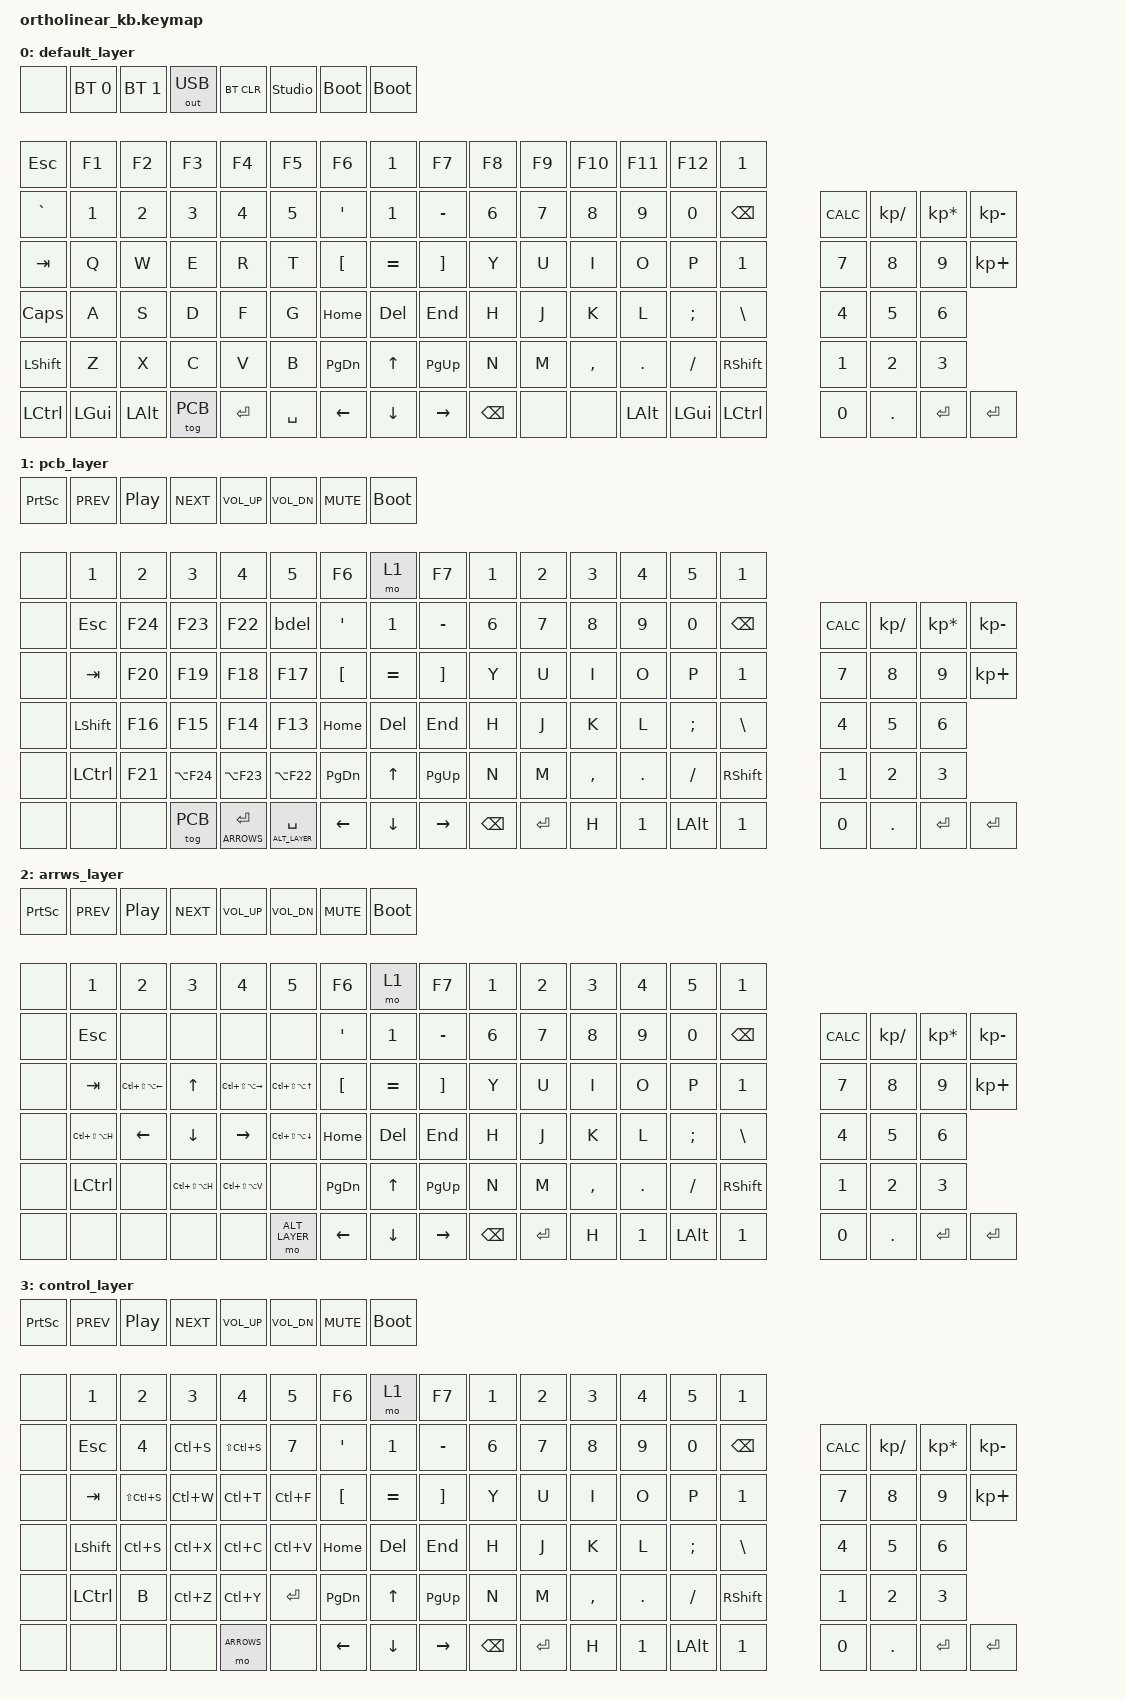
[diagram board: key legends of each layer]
// This file was generated from a template. Edit it to match your keyboard.
// See https://zmk.dev/docs/development/hardware-integration/new-shield for more instructions.

#include <behaviors.dtsi>
#include <dt-bindings/zmk/keys.h>
#include <dt-bindings/zmk/bt.h>
#include <dt-bindings/zmk/outputs.h>

#include "elpekenin/behaviors.dtsi"


/ {
    #define MAIN 			0
    #define PCB             1
    #define ARROWS	  		2
    #define ALT_LAYER 		3
    #define BT_SET  		4

    behaviors {
		bdel: backspace_del {
            compatible = "zmk,behavior-mod-morph";
            #binding-cells = <0>;
            bindings = <&kp DELETE>, <&kp BACKSPACE>;
            mods = <(MOD_LSFT|MOD_RSFT)>;
        };
    };
    
    // Define a default keymap here.
    // See https://zmk.dev/docs/development/hardware-integration/new-shield#default-keymap.
    keymap {
        compatible = "zmk,keymap";

        default_layer {
            bindings = <
//&kp PSCRN  &kp C_PREV &kp C_PP &kp C_NEXT &kp C_VOL_UP &kp C_VOL_DN &kp C_MUTE &bootloader
&none   &bt BT_SEL 0	&bt BT_SEL 1 &out OUT_USB &bt BT_CLR &studio_unlock &bootloader &bootloader

&kp ESC    &kp F1 &kp F2 &kp F3 &kp F4  &kp F5            &kp F6    &kp N1    &kp F7          &kp F8 &kp F9 &kp F10 &kp F11 &kp F12 &kp N1
&kp GRAVE  &kp N1 &kp N2 &kp N3 &kp N4  &kp N5            &kp SQT   &kp N1    &kp MINUS       &kp N6 &kp N7 &kp N8  &kp N9  &kp N0  &kp BSPC          &kp K_CALC  &kp KP_SLASH &kp KP_MULTIPLY &kp KP_MINUS
&kp TAB    &kp Q  &kp W  &kp E  &kp R   &kp T             &kp LBKT  &kp EQUAL &kp RBKT        &kp Y  &kp U  &kp I   &kp O   &kp P   &kp N1            &kp N7 &kp N8  &kp N9 &kp KP_PLUS
&kp CAPS   &kp A  &kp S  &kp D  &kp F   &kp G             &kp HOME  &kp DEL   &kp END         &kp H  &kp J  &kp K   &kp L   &kp SEMI &kp BSLH         &kp N4 &kp N5  &kp N6      
&kp LSHIFT &kp Z  &kp X  &kp C  &kp V   &kp B             &kp PG_DN &kp UP    &kp PG_UP       &kp N  &kp M  &kp COMMA &kp DOT &kp FSLH   &kp RSHIFT   &kp N1 &kp N2  &kp N3
&kp LCTRL  &kp LGUI &kp LALT &tog PCB &kp RET &kp SPACE   &kp LEFT  &kp DOWN  &kp RIGHT       &kp BSPC &none &none &kp LALT &kp LGUI &kp LCTRL      &kp N0 &kp DOT &kp RET &kp RET
            >;
        };

        pcb_layer {
            bindings = <
&kp PSCRN  &kp C_PREV &kp C_PP &kp C_NEXT &kp C_VOL_UP &kp C_VOL_DN &kp C_MUTE &bootloader

&none &kp N1 &kp N2 &kp N3 &kp N4  &kp N5                       &kp F6    &mo 1     &kp F7          &kp N1 &kp N2 &kp N3  &kp N4  &kp N5  &kp N1
&none &kp ESC 	&kp F24	&kp F23		&kp F22		&bdel           &kp SQT   &kp N1    &kp MINUS       &kp N6 &kp N7 &kp N8  &kp N9  &kp N0  &kp BSPC          &kp K_CALC  &kp KP_SLASH &kp KP_MULTIPLY &kp KP_MINUS
&none &kp TAB   &kp F20	&kp F19	 	&kp F18		&kp F17         &kp LBKT  &kp EQUAL &kp RBKT        &kp Y  &kp U  &kp I   &kp O   &kp P   &kp N1            &kp N7 &kp N8  &kp N9 &kp KP_PLUS
&none &kp LSHFT &kp F16	&kp F15		&kp F14		&kp F13         &kp HOME  &kp DEL   &kp END         &kp H  &kp J  &kp K   &kp L   &kp SEMI &kp BSLH         &kp N4 &kp N5  &kp N6      
&none &kp LCTRL &kp F21	&kp LA(F24) &kp LA(F23)	&kp LA(F22)     &kp PG_DN &kp UP    &kp PG_UP       &kp N  &kp M  &kp COMMA &kp DOT &kp FSLH   &kp RSHIFT   &kp N1 &kp N2  &kp N3
&none &none     &none   &tog PCB    &lt ARROWS ENTER	&lt ALT_LAYER SPACE           &kp LEFT  &kp DOWN  &kp RIGHT       &kp BSPC &kp RET  &kp H &kp N1 &kp LALT &kp N1          &kp N0 &kp DOT &kp RET &kp RET
            >;
        };

        arrws_layer {
            bindings = <
&kp PSCRN  &kp C_PREV &kp C_PP &kp C_NEXT &kp C_VOL_UP &kp C_VOL_DN &kp C_MUTE &bootloader

&none &kp N1 &kp N2 &kp N3 &kp N4  &kp N5                       &kp F6    &mo 1     &kp F7          &kp N1 &kp N2 &kp N3  &kp N4  &kp N5  &kp N1
&none &kp ESC	&none  	&none  		&none  		&none           &kp SQT   &kp N1    &kp MINUS       &kp N6 &kp N7 &kp N8  &kp N9  &kp N0  &kp BSPC          &kp K_CALC  &kp KP_SLASH &kp KP_MULTIPLY &kp KP_MINUS
&none &kp TAB	&kp LC(LS(LA(LEFT)))  &kp UP	&kp LC(LS(LA(RIGHT)))	&kp LC(LS(LA(UP)))        &kp LBKT  &kp EQUAL &kp RBKT        &kp Y  &kp U  &kp I   &kp O   &kp P   &kp N1            &kp N7 &kp N8  &kp N9 &kp KP_PLUS
&none &kp LC(LS(LA(H)))	&kp LEFT	&kp DOWN	&kp RIGHT				&kp LC(LS(LA(DOWN)))         &kp HOME  &kp DEL   &kp END         &kp H  &kp J  &kp K   &kp L   &kp SEMI &kp BSLH         &kp N4 &kp N5  &kp N6      
&none &kp LCTRL	&none	&kp LC(LS(LA(H)))   &kp LC(LS(LA(V)))	&none     &kp PG_DN &kp UP    &kp PG_UP       &kp N  &kp M  &kp COMMA &kp DOT &kp FSLH   &kp RSHIFT   &kp N1 &kp N2  &kp N3
&none &none     &none   &none       &none					&mo ALT_LAYER           &kp LEFT  &kp DOWN  &kp RIGHT       &kp BSPC &kp RET  &kp H &kp N1 &kp LALT &kp N1          &kp N0 &kp DOT &kp RET &kp RET
            >;
        };

        control_layer {
            bindings = <
&kp PSCRN  &kp C_PREV &kp C_PP &kp C_NEXT &kp C_VOL_UP &kp C_VOL_DN &kp C_MUTE &bootloader

&none &kp N1 &kp N2 &kp N3 &kp N4  &kp N5                       &kp F6    &mo 1     &kp F7          &kp N1 &kp N2 &kp N3  &kp N4  &kp N5  &kp N1
&none &kp ESC 		&kp 4			 	&kp LC(S)		 	&kp LS(LC(S)) 		&kp 7           &kp SQT   &kp N1    &kp MINUS       &kp N6 &kp N7 &kp N8  &kp N9  &kp N0  &kp BSPC          &kp K_CALC  &kp KP_SLASH &kp KP_MULTIPLY &kp KP_MINUS
&none &kp TAB  		&kp LS(LC(S))	 	&kp LC(W)		 	&kp LC(T)	 		&kp LC(F)        &kp LBKT  &kp EQUAL &kp RBKT        &kp Y  &kp U  &kp I   &kp O   &kp P   &kp N1            &kp N7 &kp N8  &kp N9 &kp KP_PLUS
&none &kp LSHFT  		&kp LC(S)		 	&kp LC(X)		 	&kp LC(C) 			&kp LC(V)         &kp HOME  &kp DEL   &kp END         &kp H  &kp J  &kp K   &kp L   &kp SEMI &kp BSLH         &kp N4 &kp N5  &kp N6      
&none &kp LCTRL  		&kp B			 	&kp LC(Z)		 	&kp LC(Y)	 		&kp ENTER     &kp PG_DN &kp UP    &kp PG_UP       &kp N  &kp M  &kp COMMA &kp DOT &kp FSLH   &kp RSHIFT   &kp N1 &kp N2  &kp N3
&none &none     &none   &none       &mo	ARROWS			&none           &kp LEFT  &kp DOWN  &kp RIGHT       &kp BSPC &kp RET  &kp H &kp N1 &kp LALT &kp N1          &kp N0 &kp DOT &kp RET &kp RET
            >;
        };

    };
    
    //This can also be moved to the *.dts or some *.dsti file if desired.
    layer_callbacks {
        compatible = "elpekenin,layer-callback";
        layer_on {
            layer = <1>;
            event = "on-activation";
            bindings =  <&gpio 0 GPIO_ON>;

            // layer = <5>;
            // event = "on-activation";
            // bindings =  <&gpio 2 GPIO_ON>;
        };
        
        layer_off {
            layer = <1>;
            event = "on-deactivation";
            bindings =  <&gpio 0 GPIO_OFF>;

            // layer = <5>;
            // event = "on-deactivation";
            // bindings =  <&gpio 2 GPIO_OFF>;
        };
    };

};

&kscan {
     debounce-press-ms = <10>;  
     debounce-release-ms = <10>;
};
